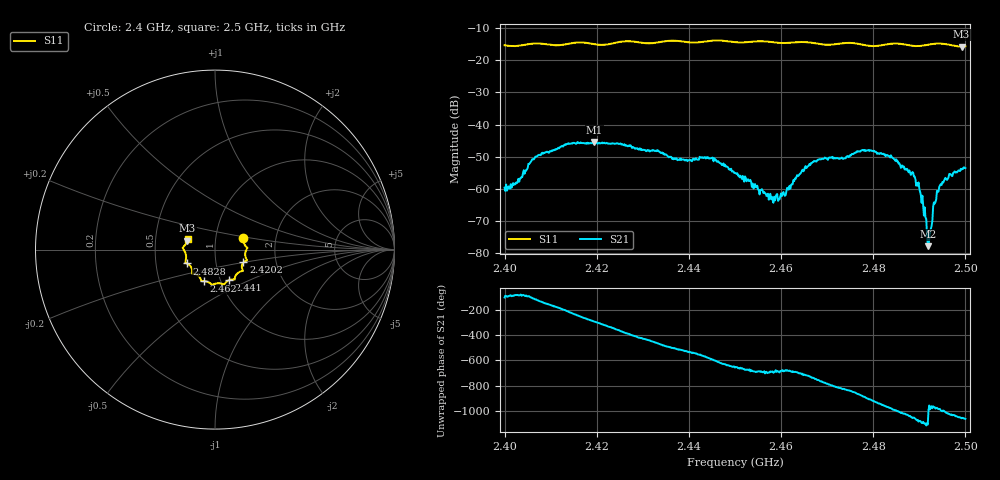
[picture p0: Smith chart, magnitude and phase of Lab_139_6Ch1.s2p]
# Hz S RI R 50
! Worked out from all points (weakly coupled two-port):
!   601 points, 2.4 GHz to 2.5 GHz, reference 50 ohm
!   highest |S21| = -45.41 dB at 2.4195 GHz (marker M1); lowest = -77.8 dB at 2.4918 GHz (marker M2)
!   lowest |S11| = -15.8 dB at 2.4992 GHz (marker M3), VSWR 1.39, Z = 36.5 + j3.67 ohm
!   |S11| at or under -10 dB: start of sweep to end of sweep
!   S12 and S22 are empty: the file has one direction only
!   S11 on the Smith chart (normalised r, x): 2.4 GHz: 1.36, +0.18; 2.4202 GHz: 1.36, -0.20; 2.441 GHz: 1.10, -0.39; 2.462 GHz: 0.84, -0.30; 2.4828 GHz: 0.72, -0.11; 2.5 GHz: 0.73, +0.09
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2.4e9  0.1579 0.0624  -0.000171 -0.00103  0 0  0 0
2.407167e9  0.1807 0.0094  -0.00178 -0.00276  0 0  0 0
2.416667e9  0.1777 -0.0604  -0.0014 0.00496  0 0  0 0
2.4195e9  0.1629 -0.0673  0.00192 0.00501  0 0  0 0
2.420167e9  0.1582 -0.0712  0.00242 0.00442  0 0  0 0
2.433333e9  0.1119 -0.1513  -0.00107 -0.00378  0 0  0 0
2.441e9  0.0784 -0.1699  -0.00293 2.84e-05  0 0  0 0
2.45e9  0.0284 -0.1878  0.000807 0.00158  0 0  0 0
2.458333e9  -0.0275 -0.1872  0.000564 0.000232  0 0  0 0
2.462e9  -0.0604 -0.1757  0.00081 0.000593  0 0  0 0
2.466667e9  -0.0785 -0.168  0.0024 -0.000763  0 0  0 0
2.477833e9  -0.127 -0.1168  -0.00391 -0.000851  0 0  0 0
2.482833e9  -0.1573 -0.0771  -0.00134 0.00305  0 0  0 0
2.483333e9  -0.1605 -0.0758  -0.000991 0.00312  0 0  0 0
2.489e9  -0.1611 -0.0368  0.00146 0.000536  0 0  0 0
2.490333e9  -0.165 -0.0195  0.000798 -8.86e-05  0 0  0 0
2.491833e9  -0.1727 -0.00322  0.000112 -6.43e-05  0 0  0 0
2.492333e9  -0.1755 0.000492  -5.24e-06 0.000208  0 0  0 0
2.4935e9  -0.1795 0.00689  -7.73e-05 0.000624  0 0  0 0
2.494333e9  -0.1802 0.0098  -8.43e-05 0.00107  0 0  0 0
2.499167e9  -0.1545 0.049  0.00188 0.000687  0 0  0 0
2.5e9  -0.1522 0.0608  0.00203 0.000578  0 0  0 0
